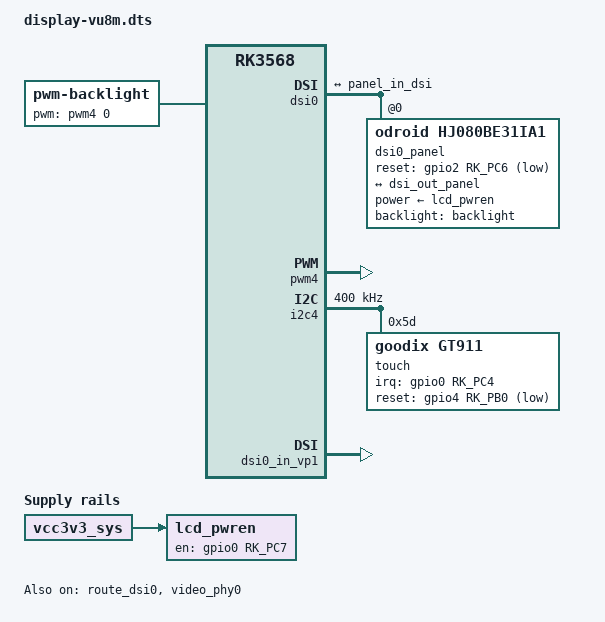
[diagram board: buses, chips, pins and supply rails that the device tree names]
/dts-v1/;
/plugin/;

#include "../../rk3568-pinctrl.dtsi"
#include <dt-bindings/gpio/gpio.h>
#include <dt-bindings/interrupt-controller/arm-gic.h>
#include <dt-bindings/interrupt-controller/irq.h>
#include <dt-bindings/pinctrl/rockchip.h>
#include <dt-bindings/display/drm_mipi_dsi.h>

/{
	fragment@0 {
		target = <&dsi0>;
		__overlay__ {
			status = "okay";
                        #address-cells = <1>;
                        #size-cells = <0>;
			dsi0_panel: panel@0 {
				status = "okay";
				compatible = "odroid,hj080be31ia1";
				reg = <0>;
				backlight = <&backlight>;
				power-supply = <&lcd_pwren>;
				reset-gpios = <&gpio2 RK_PC6 GPIO_ACTIVE_LOW>;
				dsi,flags = <(MIPI_DSI_MODE_VIDEO | MIPI_DSI_MODE_VIDEO_BURST |
						MIPI_DSI_MODE_EOT_PACKET)>;
				dsi,format = <MIPI_DSI_FMT_RGB888>;

				ports {
					#address-cells = <1>;
					#size-cells = <0>;

					port@0 {
						reg = <0>;
						panel_in_dsi: endpoint {
							remote-endpoint = <&dsi_out_panel>;
						};
					};
				};
			};
			ports {
				#address-cells = <1>;
				#size-cells = <0>;

				port@1 {
					reg = <1>;
					dsi_out_panel: endpoint {
						remote-endpoint = <&panel_in_dsi>;
					};
				};
			};
		};
	};
	fragment@1 {
		target = <&pwm4>;
		__overlay__ {
			status = "okay";
		};
	};
	fragment@2 {
		target-path = "/";
		__overlay__ {
			lcd_pwren: lcd-pwren {
				compatible = "regulator-fixed";
				regulator-name = "lcd_pwren";
				regulator-boot-on;
				enable-active-high;
				gpio = <&gpio0 RK_PC7 GPIO_ACTIVE_HIGH>;
				vin-supply = <&vcc3v3_sys>;
			};
		};
	};
	fragment@3 {
		target-path = "/";
		__overlay__ {
			backlight: backlight {
				compatible = "pwm-backlight";
				pwms = <&pwm4 0 25000 0>;
				brightness-levels = <
					0  20  20  21  21  22  22  23
					23  24  24  25  25  26  26  27
					27  28  28  29  29  30  30  31
					31  32  32  33  33  34  34  35
					35  36  36  37  37  38  38  39
					40  41  42  43  44  45  46  47
					48  49  50  51  52  53  54  55
					56  57  58  59  60  61  62  63
					64  65  66  67  68  69  70  71
					72  73  74  75  76  77  78  79
					80  81  82  83  84  85  86  87
					88  89  90  91  92  93  94  95
					96  97  98  99 100 101 102 103
					104 105 106 107 108 109 110 111
					112 113 114 115 116 117 118 119
					120 121 122 123 124 125 126 127
					128 129 130 131 132 133 134 135
					136 137 138 139 140 141 142 143
					144 145 146 147 148 149 150 151
					152 153 154 155 156 157 158 159
					160 161 162 163 164 165 166 167
					168 169 170 171 172 173 174 175
					176 177 178 179 180 181 182 183
					184 185 186 187 188 189 190 191
					192 193 194 195 196 197 198 199
					200 201 202 203 204 205 206 207
					208 209 210 211 212 213 214 215
					216 217 218 219 220 221 222 223
					224 225 226 227 228 229 230 231
					232 233 234 235 236 237 238 239
					240 241 242 243 244 245 246 247
					248 249 250 251 252 253 254 255
					>;
				default-brightness-level = <200>;
			};
		};
	};

	fragment@4 {
		target = <&i2c4>;
		__overlay__ {
			status = "okay";
			clock-frequency = <400000>;
			#address-cells = <1>;
			#size-cells = <0>;

			touch: touch@5d {
				compatible = "goodix,gt911";
				reg = <0x5d>;

				pinctrl-names = "default";
				pinctrl-0 = <&tp_gpio>;

				interrupt-parent = <&gpio0>;
				interrupts = <RK_PC4 IRQ_TYPE_LEVEL_LOW>;

				irq-gpios = <&gpio0 RK_PC4 IRQ_TYPE_LEVEL_LOW>;
				reset-gpios = <&gpio4 RK_PB0 GPIO_ACTIVE_LOW>;
			};
		};
	};
	fragment@5 {
		target = <&pinctrl>;
		__overlay__ {
			tp {
				tp_gpio: tp-gpio {
					rockchip,pins =
						<4 RK_PB0 RK_FUNC_GPIO &pcfg_pull_up>,
						<0 RK_PC4 RK_FUNC_GPIO &pcfg_pull_up>;
				};
			};
		};
	};
	fragment@6 {
		target = <&dsi0_in_vp0>;
		__overlay__ {
			status = "disabled";
		};
	};
	fragment@7 {
		target = <&dsi0_in_vp1>;
		__overlay__ {
			status = "okay";
		};
	};
	fragment@8 {
		target = <&route_dsi0>;
		__overlay__ {
			status = "okay";
			connect = <&vp1_out_dsi0>;
		};
	};
	fragment@9 {
		target = <&vop>;
		__overlay__ {
			support-multi-area;
		};
	};
	fragment@10 {
		target = <&video_phy0>;
		__overlay__ {
			status = "okay";
		};
	};
	fragment@11 {
		target = <&chosen>;
		__overlay__ {
			disable-vop2-fixup;
		};
	};
};
